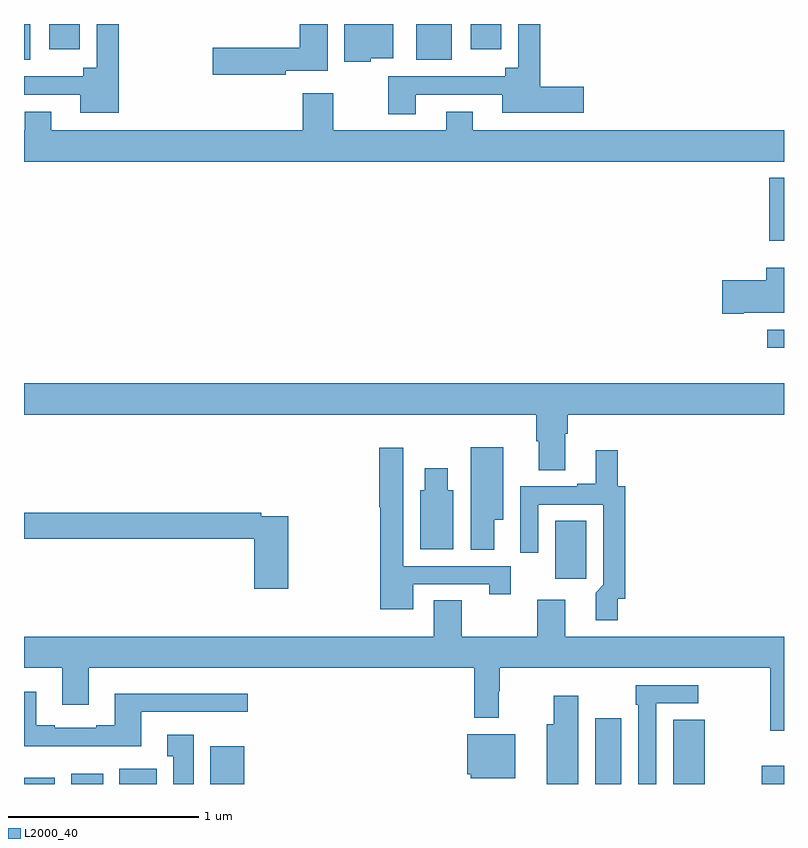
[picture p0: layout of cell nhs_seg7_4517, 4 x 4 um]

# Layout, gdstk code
import gdstk
lib = gdstk.Library(unit=1e-6, precision=1e-09)
def R(c, l, rs):  # rectangles x0, y0, x1, y1
    for r in rs: c.add(gdstk.rectangle(r[:2], r[2:], *l))
def P(c, l, *ps):  # polygons
    for p in ps: c.add(gdstk.Polygon(p, *l))
L2000_40 = (2000, 40)

nhs_seg7_4517 = lib.new_cell('nhs_seg7_4517')
R(nhs_seg7_4517, L2000_40, [(395,1004,395.161,1004.032), (395.249,1004,395.416,1004.053), (395.501,1004,395.698,1004.08), (395.981,1004,396.16,1004.2), (398.006,1004,398.143,1004.347), (398.417,1004,398.584,1004.339), (398.882,1004,399,1004.095), (397.796,1005.081,397.959,1005.386), (398.913,1006.295,399,1006.392), (398.923,1006.859,399,1007.191), (395,1007.813,395.032,1008), (397.064,1007.813,397.252,1008), (395.132,1007.868,395.293,1008), (397.352,1007.868,397.513,1008)])
P(nhs_seg7_4517, L2000_40, [(396.825,1007.819),(396.943,1007.819),(396.943,1008),(396.686,1008),(396.686,1007.801),(396.825,1007.801)],
  [(396.378,1007.753),(396.598,1007.753),(396.598,1008),(396.452,1008),(396.452,1007.876),(395.994,1007.876),(395.994,1007.734),(396.378,1007.734)],
  [(395.498,1008),(395.382,1008),(395.382,1007.77),(395.312,1007.77),(395.312,1007.724),(395,1007.724),(395,1007.628),(395.297,1007.628),(395.297,1007.534),(395.498,1007.534)],
  [(397.063,1007.628),(397.517,1007.628),(397.517,1007.534),(397.945,1007.534),(397.945,1007.669),(397.718,1007.669),(397.718,1008),(397.602,1008),(397.602,1007.77),(397.532,1007.77),(397.532,1007.724),(396.916,1007.724),(396.916,1007.526),(397.063,1007.526)],
  [(399,1007.44),(397.363,1007.44),(397.363,1007.539),(397.223,1007.539),(397.223,1007.44),(396.627,1007.44),(396.627,1007.635),(396.467,1007.635),(396.467,1007.44),(395.143,1007.44),(395.143,1007.539),(395.003,1007.539),(395.003,1007.44),(395,1007.44),(395,1007.276),(399,1007.276)],
  [(398.788,1006.481),(399,1006.481),(399,1006.717),(398.906,1006.717),(398.906,1006.652),(398.676,1006.652),(398.676,1006.474),(398.788,1006.474)],
  [(397.849,1005.844),(397.862,1005.844),(397.862,1005.944),(399,1005.944),(399,1006.108),(395,1006.108),(395,1005.944),(397.697,1005.944),(397.697,1005.804),(397.709,1005.804),(397.709,1005.652),(397.849,1005.652)],
  [(397.474,1005.392),(397.522,1005.392),(397.522,1005.772),(397.352,1005.772),(397.352,1005.232),(397.474,1005.232)],
  [(397.048,1005.051),(397.448,1005.051),(397.448,1005),(397.561,1005),(397.561,1005.147),(396.997,1005.147),(396.997,1005.769),(396.869,1005.769),(396.869,1005.456),(396.874,1005.456),(396.874,1004.919),(397.048,1004.919)],
  [(398.126,1004.976),(398.165,1004.976),(398.165,1005.567),(398.126,1005.567),(398.126,1005.757),(398.009,1005.757),(398.009,1005.58),(397.913,1005.58),(397.913,1005.567),(397.611,1005.567),(397.611,1005.216),(397.707,1005.216),(397.707,1005.471),(398.049,1005.471),(398.049,1005.048),(398.008,1005.007),(398.008,1004.861),(398.126,1004.861)],
  [(397.258,1005.546),(397.231,1005.546),(397.231,1005.661),(397.109,1005.661),(397.109,1005.546),(397.085,1005.546),(397.085,1005.236),(397.258,1005.236)],
  [(396.39,1005.408),(396.248,1005.408),(396.248,1005.428),(395,1005.428),(395,1005.292),(396.212,1005.292),(396.212,1005.027),(396.39,1005.027)],
  [(397.305,1004.966),(397.157,1004.966),(397.157,1004.776),(395,1004.776),(395,1004.612),(395.201,1004.612),(395.201,1004.418),(395.341,1004.418),(395.341,1004.612),(397.369,1004.612),(397.369,1004.349),(397.498,1004.349),(397.498,1004.489),(397.505,1004.489),(397.505,1004.612),(398.928,1004.612),(398.928,1004.28),(399,1004.28),(399,1004.776),(397.849,1004.776),(397.849,1004.971),(397.702,1004.971),(397.702,1004.776),(397.305,1004.776)],
  [(398.328,1004.424),(398.548,1004.424),(398.548,1004.52),(398.22,1004.52),(398.22,1004.417),(398.232,1004.417),(398.232,1004),(398.328,1004)],
  [(395.617,1004.379),(396.178,1004.379),(396.178,1004.476),(395.477,1004.476),(395.477,1004.308),(395.381,1004.308),(395.381,1004.295),(395.161,1004.295),(395.161,1004.308),(395.065,1004.308),(395.065,1004.485),(395,1004.485),(395,1004.198),(395.617,1004.198)],
  [(397.918,1004.464),(397.789,1004.464),(397.789,1004.314),(397.751,1004.314),(397.751,1004),(397.918,1004)],
  [(397.585,1004.263),(397.334,1004.263),(397.334,1004.052),(397.35,1004.052),(397.35,1004.03),(397.585,1004.03)],
  [(395.893,1004.26),(395.753,1004.26),(395.753,1004.147),(395.786,1004.147),(395.786,1004),(395.893,1004)])

lib.write_gds('nhs_seg7_4517.gds')
